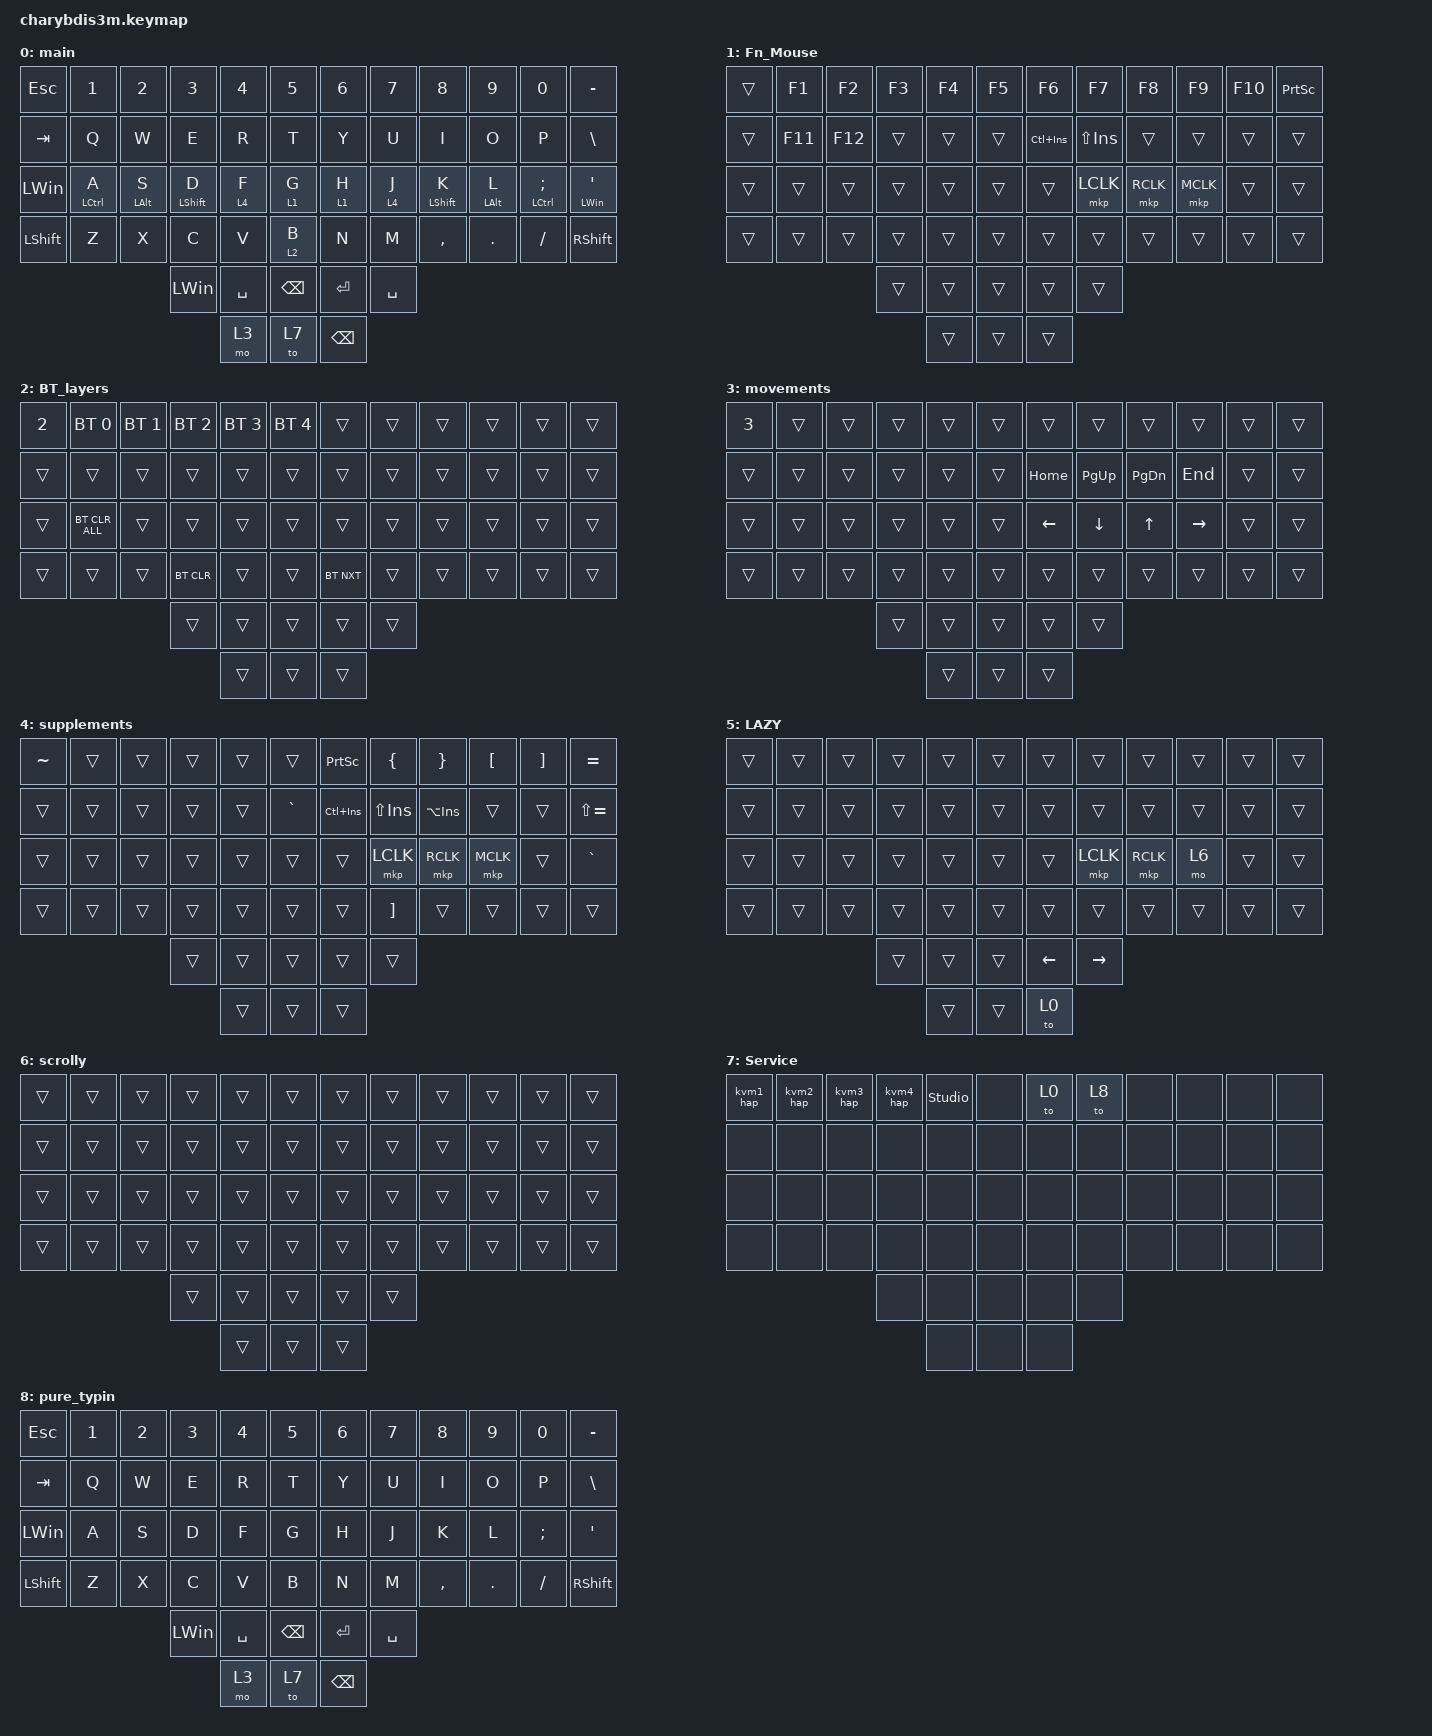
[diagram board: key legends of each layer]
#include <behaviors.dtsi>
#include <dt-bindings/gpio/gpio.h>
#include <dt-bindings/pwm/pwm.h>
#include <dt-bindings/zmk/bt.h>
#include <dt-bindings/zmk/buzzer.h>
#include <dt-bindings/zmk/keys.h>
#include <dt-bindings/zmk/pointing.h>
#include <dt-bindings/zmk/rgb.h>

/ {
    behaviors {
        /* Pushbutton on the dongle's P1.15 (zmk-behavior-pushbutton module).
         * Kept here, not in the keyboard shield, so a stock build has no
         * pushbutton. Okay on every board so &pb resolves in the keymap; the
         * module builds the driver only on the central, so the halves never
         * drive the pin (P1.15 is a matrix pin there). */
        kvm1: pushbutton1 {
            compatible = "zmk,behavior-pushbutton";
            display-name = "Push Button KVM1";
            #binding-cells = <0>;
            gpios = <&gpio1 15 GPIO_ACTIVE_HIGH>;
            press-duration-ms = <200>;
            status = "okay";
        };
        kvm2: pushbutton2 {
            compatible = "zmk,behavior-pushbutton";
            display-name = "Push Button KVM2";
            #binding-cells = <0>;
            gpios = <&gpio1 13 GPIO_ACTIVE_HIGH>;
            press-duration-ms = <200>;
            status = "okay";
        };
        kvm3: pushbutton3 {
            compatible = "zmk,behavior-pushbutton";
            display-name = "Push Button KVM3";
            #binding-cells = <0>;
            gpios = <&gpio1 11 GPIO_ACTIVE_HIGH>;
            press-duration-ms = <200>;
            status = "okay";
        };
        kvm4: pushbutton4 {
            compatible = "zmk,behavior-pushbutton";
            display-name = "Push Button KVM4";
            #binding-cells = <0>;
            gpios = <&gpio0 10 GPIO_ACTIVE_HIGH>;
            press-duration-ms = <500>;
            status = "okay";
        };

        /* Vibration on the dongle (zmk-feedback-haptic module); the
         * parameter is the pattern number in &haptic below. */
        hap: haptic {
            compatible = "zmk,behavior-haptic";
            display-name = "Haptic";
            #binding-cells = <1>;
            motor = <&haptic>;
        };

        /* Sound on the dongle (zmk-feedback-buzzer module); the parameter
         * is the melody number in &buzzer below. */
        beep: buzzer {
            compatible = "zmk,behavior-buzzer";
            display-name = "Buzzer";
            #binding-cells = <1>;
            buzzer = <&buzzer>;
        };
    };

    /* Passive buzzer on the dongle's P0.02 (D19), PWM0 is routed there in
     * charybdis3m_central.overlay. The halves never enable PWM0 or build the
     * driver. Melodies are frequency/ms pairs, numbered from 0 in this order. */
    buzzer: buzzer {
        compatible = "zmk,buzzer";
        pwms = <&pwm0 0 PWM_HZ(1000) PWM_POLARITY_NORMAL>;

        beep { notes = <NOTE_A6 60>; };
        startup: startup { notes = <NOTE_C6 70 NOTE_E6 70 NOTE_G6 70 NOTE_C7 140>; };
        usb_up: usb_up { notes = <NOTE_G6 60 NOTE_C7 90>; };
        usb_down: usb_down { notes = <NOTE_C7 60 NOTE_G6 90>; };
        service_on: service_on { notes = <NOTE_E7 40 NOTE_REST 30 NOTE_E7 40>; };
        service_off: service_off { notes = <NOTE_E6 80>; };
    };

    buzzer_triggers {
        compatible = "zmk,buzzer-triggers";
        startup = <&startup>;
        usb-connected = <&usb_up>;
        usb-disconnected = <&usb_down>;

        service {
            layer = <7>;
            on = <&service_on>;
            off = <&service_off>;
        };
    };

    /* Vibration motor on the dongle's P0.09 (D10) through a MOSFET. Like the
     * pushbuttons, the driver is only built on the central. Patterns are
     * on/off ms, numbered from 0 in this order. */
    haptic: haptic {
        compatible = "zmk,haptic-motor";
        gpios = <&gpio0 9 GPIO_ACTIVE_HIGH>;

        one { timings-ms = <60>; };
        two { timings-ms = <60 80 60>; };
        three { timings-ms = <60 80 60 80 60>; };
        long { timings-ms = <300>; };
    };

    macros {
        /* KVM switch plus a buzz per target: 1, 2, 3 buzzes, long for KVM4 */
        kvm1_hap: kvm1_hap {
            compatible = "zmk,behavior-macro";
            display-name = "KVM1 + buzz";
            #binding-cells = <0>;
            wait-ms = <0>;
            tap-ms = <0>;
            bindings = <&macro_tap &kvm1 &hap 0>;
        };
        kvm2_hap: kvm2_hap {
            compatible = "zmk,behavior-macro";
            display-name = "KVM2 + buzz";
            #binding-cells = <0>;
            wait-ms = <0>;
            tap-ms = <0>;
            bindings = <&macro_tap &kvm2 &hap 1>;
        };
        kvm3_hap: kvm3_hap {
            compatible = "zmk,behavior-macro";
            display-name = "KVM3 + buzz";
            #binding-cells = <0>;
            wait-ms = <0>;
            tap-ms = <0>;
            bindings = <&macro_tap &kvm3 &hap 2>;
        };
        kvm4_hap: kvm4_hap {
            compatible = "zmk,behavior-macro";
            display-name = "KVM4 + buzz";
            #binding-cells = <0>;
            wait-ms = <0>;
            tap-ms = <0>;
            bindings = <&macro_tap &kvm4 &hap 3>;
        };
    };
};

&lt {
    tapping-term-ms = <200>;
    flavor = "balanced";
    quick-tap-ms = <150>;
};

&mt {
    tapping-term-ms = <200>;
    flavor = "balanced";
    quick-tap-ms = <150>;
};

/ {
    macros {
        To1_macro: To1_macro {
            compatible = "zmk,behavior-macro";
            label = "To1_macro";
            #binding-cells = <0>;
            bindings = <&rgb_ug RGB_EFF &rgb_ug RGB_COLOR_HSB(128,100,50) &to 1>;
        };

        To0_macro: To0_macro {
            compatible = "zmk,behavior-macro";
            label = "To0_macro";
            #binding-cells = <0>;
            bindings = <&rgb_ug RGB_EFR &to 0>;
        };

        To2_macro: To2_macro {
            compatible = "zmk,behavior-macro";
            label = "To2_macro";
            #binding-cells = <0>;
            bindings =
                <&to 2>,
                <&macro_wait_time 30>,
                <&rgb_ug RGB_COLOR_HSB(250,100,50)>;
        };
    };

    behaviors {
        multi_backspace: multi_backspace {
            compatible = "zmk,behavior-tap-dance";
            label = "MULTI_BACKSPACE";
            #binding-cells = <0>;
            bindings = <&kp BACKSPACE>, <&to 5>;
        };
    };

    combos {
        compatible = "zmk,combos";

        three_fingers {
            bindings = <&kp LC(LA(DELETE))>;
            key-positions = <32 33 34>;
        };
    };

    keymap {
        compatible = "zmk,keymap";

        main {
            display-name = "main";
            bindings = <
&kp ESC         &kp N1              &kp N2          &kp N3            &kp N4     &kp N5           &kp N6         &kp N7     &kp N8            &kp N9          &kp N0                      &kp MINUS
&kp TAB         &kp Q               &kp W           &kp E             &kp R      &kp T            &kp Y          &kp U      &kp I             &kp O           &kp P                       &kp BSLH
&kp LEFT_WIN    &mt LEFT_CONTROL A  &mt LEFT_ALT S  &mt LEFT_SHIFT D  &lt 4 F    &lt 1 G          &lt 1 H        &lt 4 J    &mt LEFT_SHIFT K  &mt LEFT_ALT L  &mt LEFT_CONTROL SEMICOLON  &mt LEFT_WIN SQT
&kp LEFT_SHIFT  &kp Z               &kp X           &kp C             &kp V      &lt 2 B          &kp N          &kp M      &kp COMMA         &kp DOT         &kp FSLH                    &kp RIGHT_SHIFT
                                                    &kp LEFT_WIN      &kp SPACE  &kp BACKSPACE    &kp ENTER      &kp SPACE
                                                                      &mo 3      &to 7            &kp BACKSPACE
            >;
        };

        Fn_Mouse {
            display-name = "Fn_Mouse";
            bindings = <
&trans  &kp F1   &kp F2   &kp F3  &kp F4  &kp F5    &kp F6          &kp F7          &kp F8     &kp F9     &kp F10  &kp PRINTSCREEN
&trans  &kp F11  &kp F12  &trans  &trans  &trans    &kp LC(INSERT)  &kp LS(INSERT)  &trans     &trans     &trans   &trans
&trans  &trans   &trans   &trans  &trans  &trans    &trans          &mkp LCLK       &mkp RCLK  &mkp MCLK  &trans   &trans
&trans  &trans   &trans   &trans  &trans  &trans    &trans          &trans          &trans     &trans     &trans   &trans
                          &trans  &trans  &trans    &trans          &trans
                                  &trans  &trans    &trans
            >;
        };

        BT_layers {
            display-name = "BT_layers";
            bindings = <
&kp NUMBER_2  &bt BT_SEL 0    &bt BT_SEL 1  &bt BT_SEL 2  &bt BT_SEL 3  &bt BT_SEL 4    &trans      &trans  &trans  &trans  &trans  &trans
&trans        &trans          &trans        &trans        &trans        &trans          &trans      &trans  &trans  &trans  &trans  &trans
&trans        &bt BT_CLR_ALL  &trans        &trans        &trans        &trans          &trans      &trans  &trans  &trans  &trans  &trans
&trans        &trans          &trans        &bt BT_CLR    &trans        &trans          &bt BT_NXT  &trans  &trans  &trans  &trans  &trans
                                            &trans        &trans        &trans          &trans      &trans
                                                          &trans        &trans          &trans
            >;
        };

        movements {
            display-name = "movements";
            bindings = <
&kp NUMBER_3  &trans  &trans  &trans  &trans  &trans    &trans          &trans          &trans         &trans           &trans  &trans
&trans        &trans  &trans  &trans  &trans  &trans    &kp HOME        &kp PAGE_UP     &kp PAGE_DOWN  &kp END          &trans  &trans
&trans        &trans  &trans  &trans  &trans  &trans    &kp LEFT_ARROW  &kp DOWN_ARROW  &kp UP_ARROW   &kp RIGHT_ARROW  &trans  &trans
&trans        &trans  &trans  &trans  &trans  &trans    &trans          &trans          &trans         &trans           &trans  &trans
                              &trans  &trans  &trans    &trans          &trans
                                      &trans  &trans    &trans
            >;
        };

        supplements {
            display-name = "supplements";
            bindings = <
&kp TILDE  &trans  &trans  &trans  &trans  &trans       &kp PRINTSCREEN  &kp LEFT_BRACE     &kp RIGHT_BRACE  &kp LEFT_BRACKET  &kp RIGHT_BRACKET  &kp EQUAL
&trans     &trans  &trans  &trans  &trans  &kp GRAVE    &kp LC(INSERT)   &kp LS(INSERT)     &kp LA(INSERT)   &trans            &trans             &kp LS(EQUAL)
&trans     &trans  &trans  &trans  &trans  &trans       &trans           &mkp LCLK          &mkp RCLK        &mkp MCLK         &trans             &kp GRAVE
&trans     &trans  &trans  &trans  &trans  &trans       &trans           &kp RIGHT_BRACKET  &trans           &trans            &trans             &trans
                           &trans  &trans  &trans       &trans           &trans
                                   &trans  &trans       &trans
            >;
        };

        LAZY {
            display-name = "LAZY";
            bindings = <
&trans  &trans  &trans  &trans  &trans  &trans    &trans          &trans     &trans     &trans  &trans  &trans
&trans  &trans  &trans  &trans  &trans  &trans    &trans          &trans     &trans     &trans  &trans  &trans
&trans  &trans  &trans  &trans  &trans  &trans    &trans          &mkp LCLK  &mkp RCLK  &mo 6   &trans  &trans
&trans  &trans  &trans  &trans  &trans  &trans    &trans          &trans     &trans     &trans  &trans  &trans
                        &trans  &trans  &trans    &kp LEFT_ARROW  &kp RIGHT
                                &trans  &trans    &to 0
            >;
        };

        scrolly {
            display-name = "scrolly";
            bindings = <
&trans  &trans  &trans  &trans  &trans  &trans    &trans  &trans  &trans  &trans  &trans  &trans
&trans  &trans  &trans  &trans  &trans  &trans    &trans  &trans  &trans  &trans  &trans  &trans
&trans  &trans  &trans  &trans  &trans  &trans    &trans  &trans  &trans  &trans  &trans  &trans
&trans  &trans  &trans  &trans  &trans  &trans    &trans  &trans  &trans  &trans  &trans  &trans
                        &trans  &trans  &trans    &trans  &trans
                                &trans  &trans    &trans
            >;
        };

        Service {
            display-name = "Service";
            bindings = <
&kvm1_hap  &kvm2_hap  &kvm3_hap  &kvm4_hap  &studio_unlock  &none    &to 0  &to 8  &none  &none  &none  &none
&none  &none  &none  &none  &none  &none    &none  &none  &none  &none  &none  &none
&none  &none  &none  &none  &none  &none    &none  &none  &none  &none  &none  &none
&none  &none  &none  &none  &none  &none    &none  &none  &none  &none  &none  &none
                     &none  &none  &none    &none  &none
                            &none  &none    &none
            >;
        };

        pure_typin {
            display-name = "pure_typin";
            bindings = <
&kp ESC         &kp N1  &kp N2  &kp N3        &kp N4     &kp N5           &kp N6         &kp N7     &kp N8     &kp N9   &kp N0         &kp MINUS
&kp TAB         &kp Q   &kp W   &kp E         &kp R      &kp T            &kp Y          &kp U      &kp I      &kp O    &kp P          &kp BSLH
&kp LEFT_WIN    &kp A   &kp S   &kp D         &kp F      &kp G            &kp H          &kp J      &kp K      &kp L    &kp SEMICOLON  &kp SQT
&kp LEFT_SHIFT  &kp Z   &kp X   &kp C         &kp V      &kp B            &kp N          &kp M      &kp COMMA  &kp DOT  &kp FSLH       &kp RIGHT_SHIFT
                                &kp LEFT_WIN  &kp SPACE  &kp BACKSPACE    &kp ENTER      &kp SPACE
                                              &mo 3      &to 7            &kp BACKSPACE
            >;
        };
    };
};
